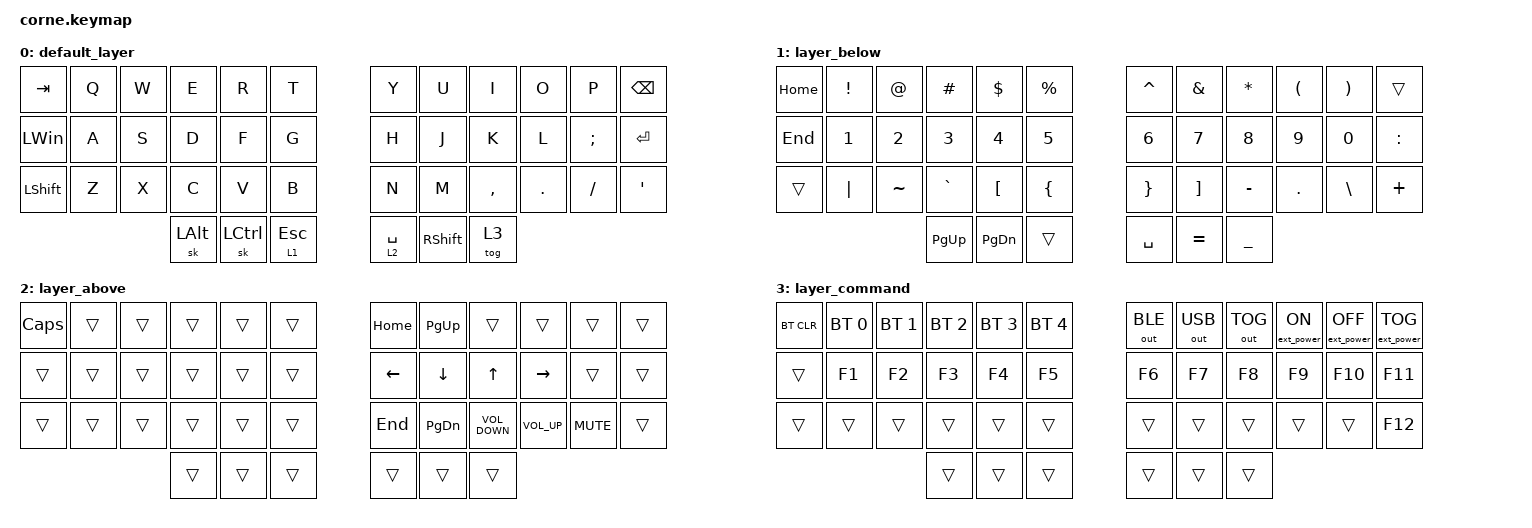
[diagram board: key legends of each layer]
/*
 * Copyright (c) 2020 The ZMK Contributors
 *
 * SPDX-License-Identifier: MIT
 */

#include <behaviors.dtsi>
#include <dt-bindings/zmk/bt.h>
#include <dt-bindings/zmk/ext_power.h>
#include <dt-bindings/zmk/keys.h>
#include <dt-bindings/zmk/outputs.h>

/ {
    behaviors {
        tp: tap_preferred {
            compatible = "zmk,behavior-hold-tap";
            label = "TAP_PREFERRED";
            #binding-cells = <2>;
            tapping-term-ms = <150>;
            quick-tap-ms = <0>;
            flavor = "tap-preferred";
            bindings =
                <&kp>,
                <&kp>;
        };
    };

    keymap {
        compatible = "zmk,keymap";

        default_layer {
            // -----------------------------------------------------------------------------------------
            // | TAB  |  Q  |  W  |  E  |  R  |    T    |   |  Y  |  U   |  I  |  O  |  P  | ESC |
            // | CTRL |  A  |  S  |  D  |  F  |    G    |   |  H  |  J   |  K  |  L  |  ;  |  '   |
            // | SHFT |  Z  |  X  |  C  |  V  |    B    |   |  N  |  M   |  ,  |  .  |  /  | SHFT |
            //                    | GUI | LWR | ALT/ENT |   | HYPER/SPC | BKSP  | RSE |

            bindings = <
     &kp TAB  &kp Q  &kp W     &kp E      &kp R      &kp T          &kp Y       &kp U      &kp I    &kp O     &kp P     &kp BACKSPACE
&kp LEFT_WIN  &kp A  &kp S     &kp D      &kp F      &kp G          &kp H       &kp J      &kp K    &kp L  &kp SEMI         &kp ENTER
   &kp LSHFT  &kp Z  &kp X     &kp C      &kp V      &kp B          &kp N       &kp M  &kp COMMA  &kp DOT  &kp FSLH  &kp SINGLE_QUOTE
                            &sk LALT  &sk LCTRL  &lt 1 ESC    &lt 2 SPACE  &kp RSHIFT     &tog 3
            >;
        };

        layer_below {
            // -----------------------------------------------------------------------------------------
            // |      |  !  |  @  |  #  |  $  |    %     |   |  ^  |  &  |  *  |  (  |  )  |   \   |
            // |      |  1  |  2  |  3  |  4  |    5     |   |  -  |  =  |  `  |  [  |  ]  |  "|"  |
            // | SHFT |  6  |  7  |  8  |  9  |    0     |   |  _  |  +  |  ~  |  {  |  }  | RSHFT |
            //                     | GUI |     | ALT/ENT |   | HYPER/SPACE | BKSP |    |

            bindings = <
&kp HOME  &kp EXCL     &kp AT   &kp HASH          &kp DLLR       &kp PRCNT          &kp CARET           &kp AMPS    &kp ASTERISK      &kp LPAR       &kp RPAR     &trans
 &kp END    &kp N1     &kp N2     &kp N3            &kp N4          &kp N5       &kp NUMBER_6       &kp NUMBER_7    &kp NUMBER_8  &kp NUMBER_9   &kp NUMBER_0  &kp COLON
  &trans  &kp PIPE  &kp TILDE  &kp GRAVE  &kp LEFT_BRACKET  &kp LEFT_BRACE    &kp RIGHT_BRACE  &kp RIGHT_BRACKET       &kp MINUS    &kp PERIOD  &kp BACKSLASH   &kp PLUS
                               &kp PG_UP         &kp PG_DN          &trans          &kp SPACE          &kp EQUAL  &kp UNDERSCORE
            >;
        };

        layer_above {
            // -----------------------------------------------------------------------------------------
            // |       |  F1  |  F2  |  F3  |  F4  |  F5 |            |  F6  |  F7  |  F8  |  F9  |  F10  |   |
            // |       | Prev | Next | Vol - | Vol + | Play/Pause |   |      | LFT | DWN |  UP | RGT |     |     |
            // | BTCLR | BT1 | BT2 | BT3 | BT4 | BT5 |   |            |     |     |     |     |     |     |
            //                    |     |     |    |                  |     |     |     |

            bindings = <
&kp CAPS  &trans  &trans  &trans  &trans  &trans    &kp HOME  &kp PG_UP             &trans           &trans      &trans  &trans
  &trans  &trans  &trans  &trans  &trans  &trans    &kp LEFT   &kp DOWN             &kp UP        &kp RIGHT      &trans  &trans
  &trans  &trans  &trans  &trans  &trans  &trans     &kp END  &kp PG_DN  &kp C_VOLUME_DOWN  &kp C_VOLUME_UP  &kp C_MUTE  &trans
                          &trans  &trans  &trans      &trans     &trans             &trans
            >;
        };

        layer_command {
            bindings = <
&bt BT_CLR  &bt BT_SEL 0  &bt BT_SEL 1  &bt BT_SEL 2  &bt BT_SEL 3  &bt BT_SEL 4    &out OUT_BLE  &out OUT_USB  &out OUT_TOG  &ext_power EP_ON  &ext_power EP_OFF  &ext_power EP_TOG
    &trans        &kp F1        &kp F2        &kp F3        &kp F4        &kp F5          &kp F6        &kp F7        &kp F8            &kp F9            &kp F10            &kp F11
    &trans        &trans        &trans        &trans        &trans        &trans          &trans        &trans        &trans            &trans             &trans            &kp F12
                                              &trans        &trans        &trans          &trans        &trans        &trans
            >;
        };
    };
};
